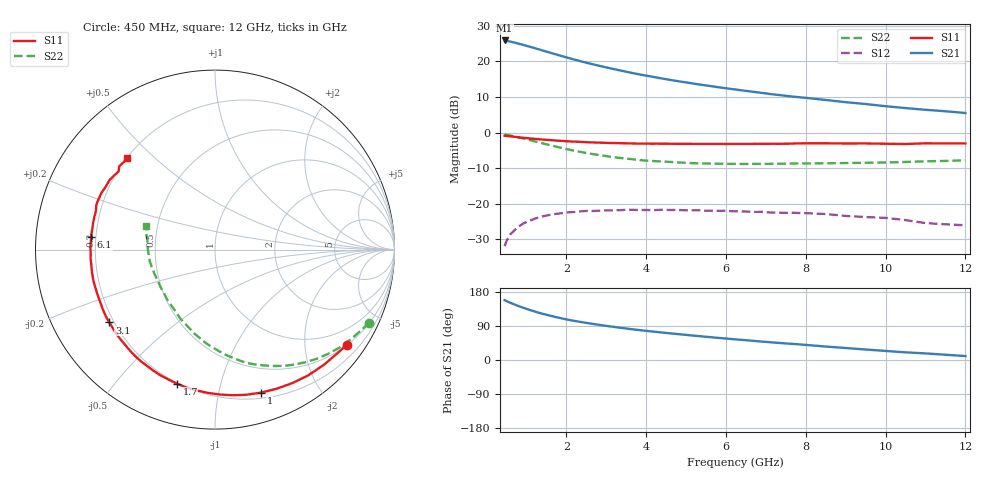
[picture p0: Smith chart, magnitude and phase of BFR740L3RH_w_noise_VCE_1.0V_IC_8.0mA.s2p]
! (c) 2012  Infineon Technologies AG, Munich
! Infineon Technologies  Discrete & RF Semiconductors
! BFR740L3RH
! VCE =  1.0 V,  IC =  8.0 mA
! Common Emitter S-Parameters:  May 2012
# GHz  S  MA  R  50
!  f  S11  S21  S12  S22
! GHz  MAG  ANG  MAG  ANG  MAG  ANG  MAG  ANG
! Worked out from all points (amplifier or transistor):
!   85 points, 450 MHz to 12 GHz, reference 50 ohm
!   highest |S21| = 25.9 dB at 450 MHz (marker M1)
!   |S21| within 3 dB of that: start of sweep to 1.459 GHz
!   unconditionally stable (mu >= 1): 8.631 GHz to end of sweep
!   at 1.8 GHz: K = 0.17, MSG = 22.3 dB, |S12| = -22.8 dB
!   at 4.6 GHz: K = 0.45, MSG = 18.3 dB, |S12| = -21.7 dB
!   at 12 GHz: K = 2.15, MAG = 9.7 dB, |S12| = -26.0 dB
!   lowest NFmin = 0.51 dB at 450 MHz
!   S11 on the Smith chart (normalised r, x): 450 MHz: 0.51, -3.01; 1 GHz: 0.25, -1.34; 1.7 GHz: 0.20, -0.74; 3.1 GHz: 0.18, -0.30; 6.1 GHz: 0.18, +0.05; 12 GHz: 0.20, +0.41
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0.45  0.9051 -35.9  19.68 157.9  0.0254 70.6  0.9508 -25.4
0.6  0.8833 -46.6  18.92 150.7  0.0376 62.3  0.9085 -33.1
0.7  0.872 -53.5  18.37 146.4  0.0426 58.7  0.8835 -38.1
0.8  0.8593 -60.0  17.76 142.3  0.0477 55.3  0.857 -42.7
1  0.8371 -72.2  16.55 134.9  0.0555 49.1  0.8049 -51.2
1.3  0.8077 -88.2  14.8 125.0  0.0644 41.1  0.7292 -62.8
1.5  0.7915 -97.4  13.72 119.3  0.0684 36.5  0.6844 -69.8
1.7  0.7765 -105.9  12.72 114.1  0.0716 32.6  0.6432 -76.1
1.9  0.7637 -113.4  11.81 109.4  0.0741 29.3  0.6042 -81.7
2.1  0.7508 -120.1  10.98 105.1  0.0763 26.1  0.5711 -87.0
2.4  0.7376 -128.9  9.897 99.6  0.0787 22.0  0.5298 -94.3
2.7  0.7261 -136.4  9.004 94.6  0.0793 18.2  0.4948 -100.8
3.1  0.7147 -145.4  7.992 88.6  0.0807 14.5  0.4582 -108.6
3.7  0.7025 -156.4  6.784 80.5  0.0821 9.3  0.419 -119.6
4.3  0.6993 -165.1  5.878 73.6  0.082 5.4  0.3948 -128.2
5.3  0.6931 -177.8  4.767 63.2  0.0811 -0.3  0.37 -142.0
6.1  0.6931 174.1  4.125 55.7  0.079 -3.3  0.3638 -151.6
6.3  0.6937 172.2  3.985 53.9  0.0784 -4.7  0.363 -153.9
7.2  0.6967 164.4  3.433 46.1  0.0753 -8.2  0.3649 -163.5
8.5  0.7072 153.5  2.872 35.5  0.0718 -13.6  0.3707 -176.1
10.5  0.6915 141.0  2.21 20.2  0.059 -17.1  0.3869 169.5
12  0.7051 133.8  1.885 10.4  0.0499 -11.3  0.4079 161.0
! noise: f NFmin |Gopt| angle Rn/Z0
0.45  0.51  0.33  3  0.13
0.9  0.52  0.33  15  0.12
1.5  0.54  0.32  31  0.11
1.9  0.56  0.33  40  0.11
2.4  0.59  0.35  51  0.11
3.5  0.66  0.35  69  0.09
5.5  0.83  0.37  100  0.09
8  1.06  0.35  140  0.08
10  1.24  0.37  165  0.06
12  1.43  0.41  -161  0.06
